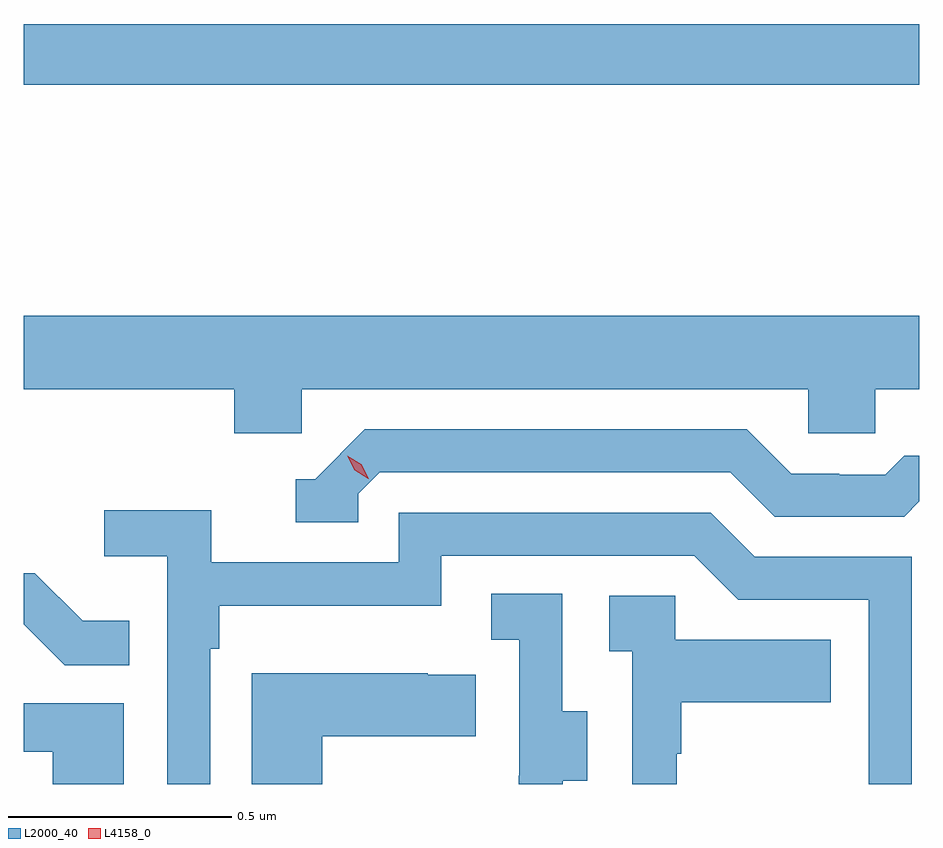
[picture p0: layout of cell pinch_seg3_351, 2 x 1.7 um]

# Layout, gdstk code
import gdstk
lib = gdstk.Library(unit=1e-6, precision=1e-09)
def R(c, l, rs):  # rectangles x0, y0, x1, y1
    for r in rs: c.add(gdstk.rectangle(r[:2], r[2:], *l))
def P(c, l, *ps):  # polygons
    for p in ps: c.add(gdstk.Polygon(p, *l))
L2000_40 = (2000, 40)
L4158_0 = (4158, 0)

pinch_seg3_351 = lib.new_cell('pinch_seg3_351')
R(pinch_seg3_351, L2000_40, [(1001.997,693.604,1003.997,693.74)])
P(pinch_seg3_351, L2000_40, [(1002.618,692.924),(1003.749,692.924),(1003.749,692.826),(1003.899,692.826),(1003.899,692.924),(1003.997,692.924),(1003.997,693.088),(1001.997,693.088),(1001.997,692.924),(1002.467,692.924),(1002.467,692.826),(1002.618,692.826)],
  [(1002.744,692.691),(1002.792,692.739),(1003.575,692.739),(1003.674,692.64),(1003.963,692.64),(1003.997,692.674),(1003.997,692.776),(1003.963,692.776),(1003.921,692.733),(1003.818,692.733),(1003.818,692.736),(1003.711,692.736),(1003.612,692.835),(1002.759,692.835),(1002.648,692.724),(1002.605,692.724),(1002.605,692.628),(1002.744,692.628)],
  [(1002.414,692.345),(1002.434,692.345),(1002.434,692.441),(1002.93,692.441),(1002.93,692.553),(1003.494,692.553),(1003.593,692.454),(1003.884,692.454),(1003.884,692.043),(1003.98,692.043),(1003.98,692.55),(1003.63,692.55),(1003.531,692.649),(1002.834,692.649),(1002.834,692.538),(1002.416,692.538),(1002.416,692.654),(1002.177,692.654),(1002.177,692.552),(1002.318,692.552),(1002.318,692.043),(1002.414,692.043)],
  [(1002.233,692.407),(1002.129,692.407),(1002.022,692.514),(1001.997,692.514),(1001.997,692.4),(1002.089,692.308),(1002.233,692.308)],
  [(1003.201,692.05),(1003.255,692.05),(1003.255,692.205),(1003.2,692.205),(1003.2,692.468),(1003.041,692.468),(1003.041,692.365),(1003.104,692.365),(1003.104,692.061),(1003.103,692.061),(1003.103,692.043),(1003.201,692.043)],
  [(1003.455,692.111),(1003.465,692.111),(1003.465,692.225),(1003.799,692.225),(1003.799,692.365),(1003.452,692.365),(1003.452,692.463),(1003.305,692.463),(1003.305,692.339),(1003.356,692.339),(1003.356,692.043),(1003.455,692.043)],
  [(1002.664,692.15),(1003.007,692.15),(1003.007,692.287),(1002.899,692.287),(1002.899,692.29),(1002.506,692.29),(1002.506,692.043),(1002.664,692.043)],
  [(1002.22,692.223),(1001.997,692.223),(1001.997,692.115),(1002.062,692.115),(1002.062,692.043),(1002.22,692.043)])
P(pinch_seg3_351, L4158_0, [(1002.767,692.725),(1002.736,692.744),(1002.72,692.776),(1002.72,692.776),(1002.72,692.776),(1002.751,692.757),(1002.768,692.725),(1002.768,692.725)])

lib.write_gds('pinch_seg3_351.gds')
